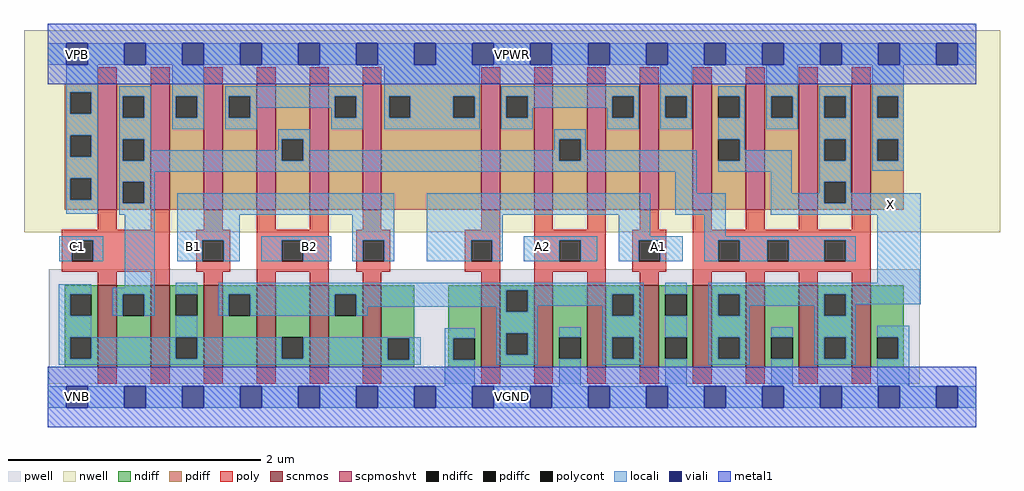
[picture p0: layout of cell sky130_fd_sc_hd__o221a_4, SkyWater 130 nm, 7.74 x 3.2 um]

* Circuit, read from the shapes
.subckt sky130_fd_sc_hd__o221a_4 A1 A2 B1 B2 C1 VGND VNB VPB VPWR X
XM1 n1 C1 n2 VNB sky130_fd_pr__nfet_01v8 w=0.65 l=0.15 m=2
XM2 n3 B1 n2 VNB sky130_fd_pr__nfet_01v8 w=0.65 l=0.15 m=2
XM3 n2 B2 n3 VNB sky130_fd_pr__nfet_01v8 w=0.65 l=0.15 m=2
XM4 n3 A1 VGND VNB sky130_fd_pr__nfet_01v8 w=0.65 l=0.15 m=2
XM5 VGND A2 n3 VNB sky130_fd_pr__nfet_01v8 w=0.65 l=0.15 m=2
XM6 X n1 VGND VNB sky130_fd_pr__nfet_01v8 w=0.65 l=0.15 m=4
XM7 n1 C1 VPWR VPB sky130_fd_pr__pfet_01v8_hvt w=1 l=0.15 m=2
XM8 n4 B1 VPWR VPB sky130_fd_pr__pfet_01v8_hvt w=1 l=0.15 m=2
XM9 n1 B2 n4 VPB sky130_fd_pr__pfet_01v8_hvt w=1 l=0.15 m=2
XM10 n5 A1 VPWR VPB sky130_fd_pr__pfet_01v8_hvt w=1 l=0.15 m=2
XM11 n1 A2 n5 VPB sky130_fd_pr__pfet_01v8_hvt w=1 l=0.15 m=2
XM12 X n1 VPWR VPB sky130_fd_pr__pfet_01v8_hvt w=1 l=0.15 m=4
.ends

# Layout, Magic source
magic
tech sky130A
magscale 1 2
<< nwell >>
rect -38 261 1510 582
<< pwell >>
rect 1 21 1383 203
rect 30 -17 64 21
<< scnmos >>
rect 79 47 109 177
rect 163 47 193 177
rect 247 47 277 177
rect 331 47 361 177
rect 415 47 445 177
rect 499 47 529 177
rect 687 47 717 177
rect 771 47 801 177
rect 855 47 885 177
rect 939 47 969 177
rect 1023 47 1053 177
rect 1107 47 1137 177
rect 1191 47 1221 177
rect 1275 47 1305 177
<< scpmoshvt >>
rect 79 297 109 497
rect 163 297 193 497
rect 247 297 277 497
rect 331 297 361 497
rect 415 297 445 497
rect 499 297 529 497
rect 687 297 717 497
rect 771 297 801 497
rect 855 297 885 497
rect 939 297 969 497
rect 1023 297 1053 497
rect 1107 297 1137 497
rect 1191 297 1221 497
rect 1275 297 1305 497
<< ndiff >>
rect 27 163 79 177
rect 27 129 35 163
rect 69 129 79 163
rect 27 95 79 129
rect 27 61 35 95
rect 69 61 79 95
rect 27 47 79 61
rect 109 163 163 177
rect 109 129 119 163
rect 153 129 163 163
rect 109 47 163 129
rect 193 163 247 177
rect 193 129 203 163
rect 237 129 247 163
rect 193 95 247 129
rect 193 61 203 95
rect 237 61 247 95
rect 193 47 247 61
rect 277 163 331 177
rect 277 129 287 163
rect 321 129 331 163
rect 277 47 331 129
rect 361 95 415 177
rect 361 61 371 95
rect 405 61 415 95
rect 361 47 415 61
rect 445 163 499 177
rect 445 129 455 163
rect 489 129 499 163
rect 445 47 499 129
rect 529 93 581 177
rect 529 59 539 93
rect 573 59 581 93
rect 529 47 581 59
rect 635 93 687 177
rect 635 59 643 93
rect 677 59 687 93
rect 635 47 687 59
rect 717 169 771 177
rect 717 135 727 169
rect 761 135 771 169
rect 717 101 771 135
rect 717 67 727 101
rect 761 67 771 101
rect 717 47 771 67
rect 801 95 855 177
rect 801 61 811 95
rect 845 61 855 95
rect 801 47 855 61
rect 885 163 939 177
rect 885 129 895 163
rect 929 129 939 163
rect 885 95 939 129
rect 885 61 895 95
rect 929 61 939 95
rect 885 47 939 61
rect 969 163 1023 177
rect 969 129 979 163
rect 1013 129 1023 163
rect 969 95 1023 129
rect 969 61 979 95
rect 1013 61 1023 95
rect 969 47 1023 61
rect 1053 163 1107 177
rect 1053 129 1063 163
rect 1097 129 1107 163
rect 1053 95 1107 129
rect 1053 61 1063 95
rect 1097 61 1107 95
rect 1053 47 1107 61
rect 1137 95 1191 177
rect 1137 61 1147 95
rect 1181 61 1191 95
rect 1137 47 1191 61
rect 1221 163 1275 177
rect 1221 129 1231 163
rect 1265 129 1275 163
rect 1221 95 1275 129
rect 1221 61 1231 95
rect 1265 61 1275 95
rect 1221 47 1275 61
rect 1305 95 1357 177
rect 1305 61 1315 95
rect 1349 61 1357 95
rect 1305 47 1357 61
<< pdiff >>
rect 27 483 79 497
rect 27 449 35 483
rect 69 449 79 483
rect 27 415 79 449
rect 27 381 35 415
rect 69 381 79 415
rect 27 347 79 381
rect 27 313 35 347
rect 69 313 79 347
rect 27 297 79 313
rect 109 477 163 497
rect 109 443 119 477
rect 153 443 163 477
rect 109 409 163 443
rect 109 375 119 409
rect 153 375 163 409
rect 109 341 163 375
rect 109 307 119 341
rect 153 307 163 341
rect 109 297 163 307
rect 193 477 247 497
rect 193 443 203 477
rect 237 443 247 477
rect 193 297 247 443
rect 277 477 331 497
rect 277 443 287 477
rect 321 443 331 477
rect 277 297 331 443
rect 361 409 415 497
rect 361 375 371 409
rect 405 375 415 409
rect 361 297 415 375
rect 445 477 499 497
rect 445 443 455 477
rect 489 443 499 477
rect 445 297 499 443
rect 529 477 687 497
rect 529 443 541 477
rect 575 443 643 477
rect 677 443 687 477
rect 529 297 687 443
rect 717 477 771 497
rect 717 443 727 477
rect 761 443 771 477
rect 717 297 771 443
rect 801 409 855 497
rect 801 375 811 409
rect 845 375 855 409
rect 801 297 855 375
rect 885 477 939 497
rect 885 443 895 477
rect 929 443 939 477
rect 885 297 939 443
rect 969 477 1023 497
rect 969 443 979 477
rect 1013 443 1023 477
rect 969 297 1023 443
rect 1053 477 1107 497
rect 1053 443 1063 477
rect 1097 443 1107 477
rect 1053 409 1107 443
rect 1053 375 1063 409
rect 1097 375 1107 409
rect 1053 297 1107 375
rect 1137 477 1191 497
rect 1137 443 1147 477
rect 1181 443 1191 477
rect 1137 297 1191 443
rect 1221 477 1275 497
rect 1221 443 1231 477
rect 1265 443 1275 477
rect 1221 409 1275 443
rect 1221 375 1231 409
rect 1265 375 1275 409
rect 1221 341 1275 375
rect 1221 307 1231 341
rect 1265 307 1275 341
rect 1221 297 1275 307
rect 1305 477 1357 497
rect 1305 443 1315 477
rect 1349 443 1357 477
rect 1305 409 1357 443
rect 1305 375 1315 409
rect 1349 375 1357 409
rect 1305 297 1357 375
<< ndiffc >>
rect 35 129 69 163
rect 35 61 69 95
rect 119 129 153 163
rect 203 129 237 163
rect 203 61 237 95
rect 287 129 321 163
rect 371 61 405 95
rect 455 129 489 163
rect 539 59 573 93
rect 643 59 677 93
rect 727 135 761 169
rect 727 67 761 101
rect 811 61 845 95
rect 895 129 929 163
rect 895 61 929 95
rect 979 129 1013 163
rect 979 61 1013 95
rect 1063 129 1097 163
rect 1063 61 1097 95
rect 1147 61 1181 95
rect 1231 129 1265 163
rect 1231 61 1265 95
rect 1315 61 1349 95
<< pdiffc >>
rect 35 449 69 483
rect 35 381 69 415
rect 35 313 69 347
rect 119 443 153 477
rect 119 375 153 409
rect 119 307 153 341
rect 203 443 237 477
rect 287 443 321 477
rect 371 375 405 409
rect 455 443 489 477
rect 541 443 575 477
rect 643 443 677 477
rect 727 443 761 477
rect 811 375 845 409
rect 895 443 929 477
rect 979 443 1013 477
rect 1063 443 1097 477
rect 1063 375 1097 409
rect 1147 443 1181 477
rect 1231 443 1265 477
rect 1231 375 1265 409
rect 1231 307 1265 341
rect 1315 443 1349 477
rect 1315 375 1349 409
<< poly >>
rect 79 497 109 523
rect 163 497 193 523
rect 247 497 277 523
rect 331 497 361 523
rect 415 497 445 523
rect 499 497 529 523
rect 687 497 717 523
rect 771 497 801 523
rect 855 497 885 523
rect 939 497 969 523
rect 1023 497 1053 523
rect 1107 497 1137 523
rect 1191 497 1221 523
rect 1275 497 1305 523
rect 79 265 109 297
rect 163 265 193 297
rect 247 265 277 297
rect 331 265 361 297
rect 415 265 445 297
rect 499 265 529 297
rect 687 265 717 297
rect 22 249 193 265
rect 22 215 38 249
rect 72 215 193 249
rect 22 199 193 215
rect 235 249 289 265
rect 235 215 245 249
rect 279 215 289 249
rect 235 199 289 215
rect 331 249 445 265
rect 331 215 371 249
rect 405 215 445 249
rect 331 199 445 215
rect 489 249 543 265
rect 489 215 499 249
rect 533 215 543 249
rect 489 199 543 215
rect 661 249 717 265
rect 661 215 671 249
rect 705 215 717 249
rect 661 199 717 215
rect 79 177 109 199
rect 163 177 193 199
rect 247 177 277 199
rect 331 177 361 199
rect 415 177 445 199
rect 499 177 529 199
rect 687 177 717 199
rect 771 265 801 297
rect 855 265 885 297
rect 939 265 969 297
rect 1023 265 1053 297
rect 1107 265 1137 297
rect 1191 265 1221 297
rect 1275 265 1305 297
rect 771 249 885 265
rect 771 215 811 249
rect 845 215 885 249
rect 771 199 885 215
rect 927 249 981 265
rect 927 215 937 249
rect 971 215 981 249
rect 927 199 981 215
rect 1023 249 1305 265
rect 1023 215 1063 249
rect 1097 215 1141 249
rect 1175 215 1231 249
rect 1265 215 1305 249
rect 1023 199 1305 215
rect 771 177 801 199
rect 855 177 885 199
rect 939 177 969 199
rect 1023 177 1053 199
rect 1107 177 1137 199
rect 1191 177 1221 199
rect 1275 177 1305 199
rect 79 21 109 47
rect 163 21 193 47
rect 247 21 277 47
rect 331 21 361 47
rect 415 21 445 47
rect 499 21 529 47
rect 687 21 717 47
rect 771 21 801 47
rect 855 21 885 47
rect 939 21 969 47
rect 1023 21 1053 47
rect 1107 21 1137 47
rect 1191 21 1221 47
rect 1275 21 1305 47
<< polycont >>
rect 38 215 72 249
rect 245 215 279 249
rect 371 215 405 249
rect 499 215 533 249
rect 671 215 705 249
rect 811 215 845 249
rect 937 215 971 249
rect 1063 215 1097 249
rect 1141 215 1175 249
rect 1231 215 1265 249
<< locali >>
rect 0 527 29 561
rect 63 527 121 561
rect 155 527 213 561
rect 247 527 305 561
rect 339 527 397 561
rect 431 527 489 561
rect 523 527 581 561
rect 615 527 673 561
rect 707 527 765 561
rect 799 527 857 561
rect 891 527 949 561
rect 983 527 1041 561
rect 1075 527 1133 561
rect 1167 527 1225 561
rect 1259 527 1317 561
rect 1351 527 1409 561
rect 1443 527 1472 561
rect 29 483 79 527
rect 29 449 35 483
rect 69 449 79 483
rect 29 415 79 449
rect 29 381 35 415
rect 69 381 79 415
rect 29 347 79 381
rect 29 313 35 347
rect 69 313 79 347
rect 29 291 79 313
rect 113 477 163 493
rect 113 443 119 477
rect 153 443 163 477
rect 113 409 163 443
rect 197 477 247 527
rect 197 443 203 477
rect 237 443 247 477
rect 197 425 247 443
rect 281 477 499 493
rect 281 443 287 477
rect 321 459 455 477
rect 321 443 331 459
rect 281 425 331 443
rect 449 443 455 459
rect 489 443 499 477
rect 449 425 499 443
rect 533 477 685 527
rect 533 443 541 477
rect 575 443 643 477
rect 677 443 685 477
rect 533 425 685 443
rect 719 477 937 493
rect 719 443 727 477
rect 761 459 895 477
rect 761 443 769 459
rect 719 425 769 443
rect 887 443 895 459
rect 929 443 937 477
rect 887 425 937 443
rect 971 477 1021 527
rect 971 443 979 477
rect 1013 443 1021 477
rect 971 425 1021 443
rect 1063 477 1105 493
rect 1097 443 1105 477
rect 113 375 119 409
rect 153 391 163 409
rect 365 409 415 425
rect 365 391 371 409
rect 153 375 371 391
rect 405 391 415 409
rect 803 409 853 425
rect 803 391 811 409
rect 405 375 811 391
rect 845 391 853 409
rect 1063 409 1105 443
rect 1139 477 1189 527
rect 1139 443 1147 477
rect 1181 443 1189 477
rect 1139 425 1189 443
rect 1223 477 1273 493
rect 1223 443 1231 477
rect 1265 443 1273 477
rect 845 375 1029 391
rect 113 357 1029 375
rect 1097 391 1105 409
rect 1223 409 1273 443
rect 1097 375 1180 391
rect 1063 357 1180 375
rect 113 341 169 357
rect 113 307 119 341
rect 153 307 169 341
rect 995 323 1029 357
rect 1146 323 1180 357
rect 1223 375 1231 409
rect 1265 375 1273 409
rect 1223 341 1273 375
rect 1307 477 1357 527
rect 1307 443 1315 477
rect 1349 443 1357 477
rect 1307 409 1357 443
rect 1307 375 1315 409
rect 1349 375 1357 409
rect 1307 359 1357 375
rect 1223 323 1231 341
rect 113 289 169 307
rect 18 249 88 255
rect 18 215 38 249
rect 72 215 88 249
rect 17 163 69 179
rect 122 173 169 289
rect 205 289 549 323
rect 205 249 304 289
rect 205 215 245 249
rect 279 215 304 249
rect 338 249 449 255
rect 338 215 371 249
rect 405 215 449 249
rect 483 249 549 289
rect 483 215 499 249
rect 533 215 549 249
rect 601 289 955 323
rect 995 289 1075 323
rect 1146 307 1231 323
rect 1265 323 1273 341
rect 1265 307 1384 323
rect 1146 289 1384 307
rect 601 249 721 289
rect 905 255 955 289
rect 1041 255 1075 289
rect 601 215 671 249
rect 705 215 721 249
rect 755 249 871 255
rect 755 215 811 249
rect 845 215 871 249
rect 905 249 1007 255
rect 905 215 937 249
rect 971 215 1007 249
rect 1041 249 1281 255
rect 1041 215 1063 249
rect 1097 215 1141 249
rect 1175 215 1231 249
rect 1265 215 1281 249
rect 1315 181 1384 289
rect 17 129 35 163
rect 103 163 169 173
rect 103 129 119 163
rect 153 129 169 163
rect 203 163 237 181
rect 271 169 945 181
rect 271 163 727 169
rect 271 129 287 163
rect 321 129 455 163
rect 489 143 727 163
rect 489 129 507 143
rect 711 135 727 143
rect 761 163 945 169
rect 761 145 895 163
rect 761 135 777 145
rect 17 95 69 129
rect 203 95 237 129
rect 17 61 35 95
rect 69 61 203 95
rect 237 61 371 95
rect 405 93 591 95
rect 405 61 539 93
rect 17 59 539 61
rect 573 59 591 93
rect 17 51 591 59
rect 629 93 677 109
rect 629 59 643 93
rect 629 17 677 59
rect 711 101 777 135
rect 879 129 895 145
rect 929 129 945 163
rect 711 67 727 101
rect 761 67 777 101
rect 711 51 777 67
rect 811 95 845 111
rect 811 17 845 61
rect 879 95 945 129
rect 879 61 895 95
rect 929 61 945 95
rect 879 51 945 61
rect 979 163 1013 181
rect 979 95 1013 129
rect 979 17 1013 61
rect 1047 163 1384 181
rect 1047 129 1063 163
rect 1097 145 1231 163
rect 1097 129 1113 145
rect 1047 95 1113 129
rect 1215 129 1231 145
rect 1265 147 1384 163
rect 1265 129 1281 147
rect 1047 61 1063 95
rect 1097 61 1113 95
rect 1047 51 1113 61
rect 1147 95 1181 111
rect 1147 17 1181 61
rect 1215 95 1281 129
rect 1215 61 1231 95
rect 1265 61 1281 95
rect 1215 51 1281 61
rect 1315 95 1366 113
rect 1349 61 1366 95
rect 1315 17 1366 61
rect 0 -17 29 17
rect 63 -17 121 17
rect 155 -17 213 17
rect 247 -17 305 17
rect 339 -17 397 17
rect 431 -17 489 17
rect 523 -17 581 17
rect 615 -17 673 17
rect 707 -17 765 17
rect 799 -17 857 17
rect 891 -17 949 17
rect 983 -17 1041 17
rect 1075 -17 1133 17
rect 1167 -17 1225 17
rect 1259 -17 1317 17
rect 1351 -17 1409 17
rect 1443 -17 1472 17
<< viali >>
rect 29 527 63 561
rect 121 527 155 561
rect 213 527 247 561
rect 305 527 339 561
rect 397 527 431 561
rect 489 527 523 561
rect 581 527 615 561
rect 673 527 707 561
rect 765 527 799 561
rect 857 527 891 561
rect 949 527 983 561
rect 1041 527 1075 561
rect 1133 527 1167 561
rect 1225 527 1259 561
rect 1317 527 1351 561
rect 1409 527 1443 561
rect 29 -17 63 17
rect 121 -17 155 17
rect 213 -17 247 17
rect 305 -17 339 17
rect 397 -17 431 17
rect 489 -17 523 17
rect 581 -17 615 17
rect 673 -17 707 17
rect 765 -17 799 17
rect 857 -17 891 17
rect 949 -17 983 17
rect 1041 -17 1075 17
rect 1133 -17 1167 17
rect 1225 -17 1259 17
rect 1317 -17 1351 17
rect 1409 -17 1443 17
<< metal1 >>
rect 0 561 1472 592
rect 0 527 29 561
rect 63 527 121 561
rect 155 527 213 561
rect 247 527 305 561
rect 339 527 397 561
rect 431 527 489 561
rect 523 527 581 561
rect 615 527 673 561
rect 707 527 765 561
rect 799 527 857 561
rect 891 527 949 561
rect 983 527 1041 561
rect 1075 527 1133 561
rect 1167 527 1225 561
rect 1259 527 1317 561
rect 1351 527 1409 561
rect 1443 527 1472 561
rect 0 496 1472 527
rect 0 17 1472 48
rect 0 -17 29 17
rect 63 -17 121 17
rect 155 -17 213 17
rect 247 -17 305 17
rect 339 -17 397 17
rect 431 -17 489 17
rect 523 -17 581 17
rect 615 -17 673 17
rect 707 -17 765 17
rect 799 -17 857 17
rect 891 -17 949 17
rect 983 -17 1041 17
rect 1075 -17 1133 17
rect 1167 -17 1225 17
rect 1259 -17 1317 17
rect 1351 -17 1409 17
rect 1443 -17 1472 17
rect 0 -48 1472 -17
<< labels >>
flabel locali s 30 221 64 255 0 FreeSans 400 0 0 0 C1
port 5 nsew signal input
flabel locali s 952 221 986 255 0 FreeSans 400 180 0 0 A1
port 1 nsew signal input
flabel locali s 768 221 802 255 0 FreeSans 400 180 0 0 A2
port 2 nsew signal input
flabel locali s 214 221 248 255 0 FreeSans 400 0 0 0 B1
port 3 nsew signal input
flabel locali s 398 221 432 255 0 FreeSans 400 0 0 0 B2
port 4 nsew signal input
flabel locali s 1320 289 1354 323 0 FreeSans 400 0 0 0 X
port 10 nsew signal output
flabel pwell s 30 -17 64 17 0 FreeSans 200 0 0 0 VNB
port 7 nsew ground bidirectional
flabel nwell s 30 527 64 561 0 FreeSans 200 0 0 0 VPB
port 8 nsew power bidirectional
flabel metal1 s 30 -17 64 17 0 FreeSans 200 0 0 0 VGND
port 6 nsew ground bidirectional abutment
flabel metal1 s 30 527 64 561 0 FreeSans 200 0 0 0 VPWR
port 9 nsew power bidirectional abutment
rlabel comment s 0 0 0 0 4 o221a_4
rlabel metal1 s 0 -48 1472 48 1 VGND
port 6 nsew ground bidirectional abutment
rlabel metal1 s 0 496 1472 592 1 VPWR
port 9 nsew power bidirectional abutment
<< properties >>
string FIXED_BBOX 0 0 1472 544
string GDS_END 819560
string GDS_FILE $PDKPATH/libs.ref/sky130_fd_sc_hd/gds/sky130_fd_sc_hd.gds
string GDS_START 808750
string LEFclass CORE
string LEFsite unithd
string LEFsymmetry X Y R90
string path 0.000 0.000 7.360 0.000 
<< end >>
